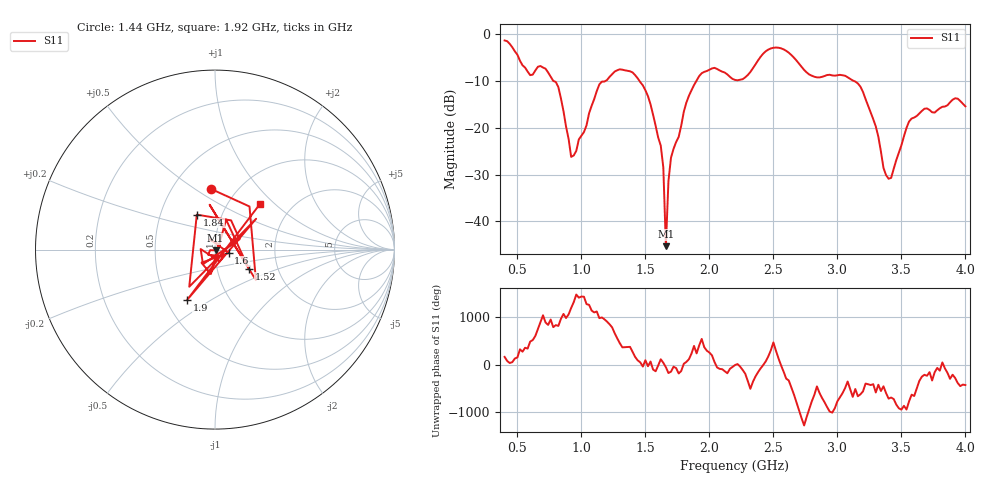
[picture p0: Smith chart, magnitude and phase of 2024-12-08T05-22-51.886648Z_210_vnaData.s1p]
!Created with skrf (http://scikit-rf.org).
# Hz S RI R 50.0
!freq ReS11 ImS11
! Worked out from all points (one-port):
!   181 points, 400 MHz to 4 GHz, reference 50 ohm
!   lowest |S11| = -45.3 dB at 1.66 GHz (marker M1), VSWR 1.01, Z = 50.3 - j0.419 ohm
!   |S11| at or under -10 dB: 782.2 MHz to 1.187 GHz (404.7 MHz wide, 41.1 % of centre); 1.454 GHz to 1.898 GHz (443.8 MHz wide, 26.5 % of centre); 3.13 GHz to end of sweep
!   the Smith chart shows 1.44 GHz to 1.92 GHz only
!   S11 on the Smith chart (normalised r, x): 1.44 GHz: 0.77, +0.58; 1.52 GHz: 1.42, -0.32; 1.6 GHz: 1.16, -0.04; 1.84 GHz: 0.76, +0.31; 1.9 GHz: 0.64, -0.40; 1.92 GHz: 1.39, +0.81
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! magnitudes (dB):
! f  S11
! 400 MHz  -1.3
! 600 MHz  -8.7
! 720 MHz  -7.4
! 820 MHz  -11.3
! 860 MHz  -16.4
! 920 MHz  -26.2
! 940 MHz  -25.9
! 1.14 GHz  -10.7
! 1.3 GHz  -7.5
! 1.44 GHz  -9.4
! 1.52 GHz  -13.2
! 1.6 GHz  -22.1
! 1.64 GHz  -28.5
! 1.66 GHz  -45.3
! 1.68 GHz  -31.4
! 1.7 GHz  -26.4
! 1.76 GHz  -21.9
! 1.84 GHz  -13.2
! 1.9 GHz  -9.9
! 1.92 GHz  -9.0
! 2.2 GHz  -9.8
! 2.48 GHz  -3.0
! 2.66 GHz  -5.0
! 3.1 GHz  -9.5
! 3.2 GHz  -12.3
! 3.4 GHz  -30.9
! 3.56 GHz  -18.7
! 4 GHz  -15.4
